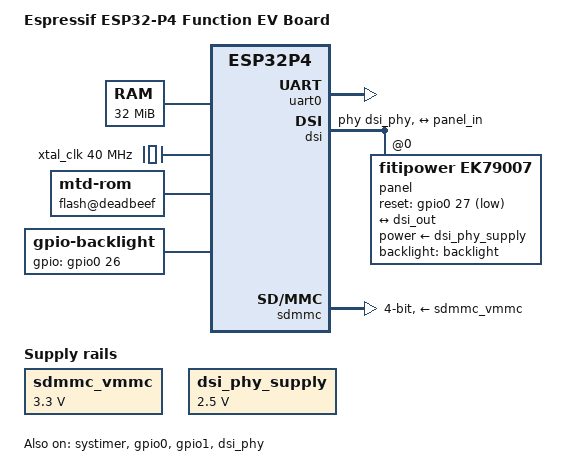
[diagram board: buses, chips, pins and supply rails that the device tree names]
// SPDX-License-Identifier: GPL-2.0
/*
 * Espressif ESP32-P4-Function-EV-Board — ESP32-P4 HP core
 *
 * HP core: dual RV32IMAFC at 400 MHz
 * RAM:     32 MB HEX PSRAM at 0x48000000 (200 MHz DDR)
 * UART0:   0x500CA000, pre-configured at 115200 by boot shim
 * SYSTIMER: 16 MHz free-running counter (timebase)
 */
/dts-v1/;

#include <dt-bindings/interrupt-controller/irq.h>
#include <dt-bindings/gpio/gpio.h>
#include <dt-bindings/input/input.h>

/ {
	#address-cells = <1>;
	#size-cells = <1>;
	model = "Espressif ESP32-P4 Function EV Board";
	compatible = "espressif,esp32p4-function-ev", "espressif,esp32p4";

	cpus {
		#address-cells = <1>;
		#size-cells = <0>;
		timebase-frequency = <16000000>;

		CPU0: cpu@0 {
			device_type = "cpu";
			compatible = "riscv";
			reg = <0>;
			riscv,isa = "rv32imafc";
			mmu-type = "riscv,none";
			status = "okay";

			CPU0_intc: interrupt-controller {
				#interrupt-cells = <1>;
				compatible = "riscv,cpu-intc";
				interrupt-controller;
			};
		};
	};

	memory@48000000 {
		device_type = "memory";
		reg = <0x48000000 0x02000000>; /* 32 MB PSRAM */
	};

	/*
	 * XTAL fixed-rate clock at 40 MHz.  Used as the UART SCLK source
	 * (the driver selects XTAL_CLK via CLK_CONF_DEFAULT).
	 */
	xtal_clk: xtal-clk {
		compatible = "fixed-clock";
		#clock-cells = <0>;
		clock-frequency = <40000000>;
		clock-output-names = "xtal";
	};

	aliases {
		serial0 = &uart0;
	};

	chosen {
		stdout-path = "serial0:115200n8";
		bootargs = "keep_bootcon console=ttyS0,115200 loglevel=8";
	};

	soc: soc {
		#address-cells = <1>;
		#size-cells = <1>;
		compatible = "simple-bus";
		ranges;

		/*
		 * CLIC: Core-Local Interrupt Controller for the HP core.
		 * 240 slots × 4 bytes.  Slots 16-239 are for peripheral
		 * sources routed via the interrupt matrix.
		 *
		 * reg[0]: CLIC control registers
		 * reg[1]: INTMTX HP core-0 base — used by the CLIC driver to
		 *         route peripheral sources to slots on domain map.
		 *
		 * #interrupt-cells = 3: <clic_slot intmtx_source trigger>
		 *   intmtx_source 0 means no routing (local interrupts).
		 *   trigger is IRQ_TYPE_LEVEL_HIGH or IRQ_TYPE_EDGE_RISING.
		 *
		 * clic0 has no interrupts-extended link to CPU0_intc: the
		 * CLIC<->hart wiring is set up in-driver (IRQCHIP_DECLARE +
		 * the riscv_intc handler reads the active slot from mcause),
		 * not via a DT interrupt-parent chain, so the CPU0_intc node
		 * above has no DT consumers here by design.
		 */
		clic0: interrupt-controller@20801000 {
			compatible = "espressif,esp32p4-clic";
			reg = <0x20801000 0x3c0>,
			      <0x500d6000 0x200>;
			interrupt-controller;
			#interrupt-cells = <3>;
		};

		/*
		 * SYSTIMER: 52-bit counter at 16 MHz (XTAL).
		 * Alarm 0 → INTMTX source 53 → CLIC slot 17.
		 * Edge-triggered: handle_percpu_devid_irq does not ack the CLIC,
		 * so we rely on the edge latch auto-clearing on ack.
		 */
		systimer: timer@500e2000 {
			compatible = "espressif,esp32p4-systimer";
			reg = <0x500e2000 0x100>;
			interrupts-extended = <&clic0 17 53 IRQ_TYPE_EDGE_RISING>;
			status = "okay";
		};

		/*
		 * UART0: pre-configured at 115200 8N1 by the boot shim.
		 * INTMTX source 31 (ETS_UART0_INTR_SOURCE) → CLIC slot 18.
		 * Level-triggered so bytes arriving while the FIFO is still
		 * non-empty re-fire the interrupt.
		 * Clock: 40 MHz XTAL (driver selects XTAL_CLK in CLK_CONF).
		 */
		uart0: serial@500ca000 {
			compatible = "esp,esp32p4-uart";
			reg = <0x500ca000 0x1000>;
			interrupts-extended = <&clic0 18 31 IRQ_TYPE_LEVEL_HIGH>;
			clocks = <&xtal_clk>;
			status = "okay";
		};
	};
};
/ {
	/*
	 * Reserved-memory regions carved from the 32 MB PSRAM window
	 * (base 0x48000000, size 0x02000000 -> top 0x4A000000), below
	 * whatever the kernel itself claims.
	 *
	 * The only child today is the NOMMU user-space mmap pool
	 * (app_pool, below). The DRM framebuffer is NOT carved out here --
	 * the display path scans out of the kernel's own pages, and the
	 * old shared-dma-pool "display_cma" region that used to live here
	 * was removed (CONFIG_CMA depends on MMU; see app_pool's comment).
	 */
	reserved-memory {
		#address-cells = <1>;
		#size-cells = <1>;
		ranges;

		/*
		 * Reserved pool for large NOMMU user-space mmap
		 * allocations. See
		 * Documentation/devicetree/bindings/reserved-memory/
		 * linux,nommu-userspace-pool.yaml.
		 *
		 * 10 MB at the top of PSRAM, replacing the no-op
		 * shared-dma-pool ("display_cma") carveout that used to
		 * occupy this region — CONFIG_CMA depends on MMU and was
		 * unreachable on this SoC, so display_cma was never
		 * actually backing dma_alloc_coherent.
		 *
		 * Sized to fit the largest single user mmap we want to
		 * support: fbdoom -mb 6 (6 MB Z_zone) plus the ~2.2 MB
		 * resident set of init/getty/sh that already lives in the
		 * pool by the time fbdoom forks.  Allocations that exceed
		 * the pool fall through to the buddy allocator, which
		 * caps at MAX_PAGE_ORDER=10 = 4 MB.
		 *
		 * Made possible by moving the rootfs out of
		 * the kernel image into a squashfs partition mounted via
		 * mtd-rom — without that, a 10 MB carveout starves the
		 * early-init buddy heap during initramfs unpack.
		 */
		app_pool: app-pool@49600000 {
			compatible = "linux,nommu-userspace-pool";
			reg = <0x49600000 0x00a00000>;
		};
	};

	/*
	 * MIPI DSI PHY analog supply.
	 *
	 * On P4 this is LDO channel 3 at 2500 mV, acquired in the probe via
	 * esp_ldo_acquire_channel(). There is no upstream P4 LDO/PMIC driver
	 * yet, so for now we model it as a fixed-regulator that is "always on"
	 * once Linux is up — the boot shim can pre-enable LDO3 before jumping
	 * into the kernel, matching how we handle UART clocking.
	 *
	 * @TODO replace with a real esp32p4-ldo driver binding once written.
	 */
	dsi_phy_supply: regulator-dsi-phy {
		compatible = "regulator-fixed";
		regulator-name = "mipi-dsi-phy-2v5";
		regulator-min-microvolt = <2500000>;
		regulator-max-microvolt = <2500000>;
		regulator-always-on;
		regulator-boot-on;
	};

	/*
	 * Fixed clock standing in for the DSI host APB ("pclk"). The DW
	 * bridge calls devm_clk_get(dev, "pclk") unconditionally. We don't
	 * have a P4 clock-controller driver yet; the APB is left running
	 * by the boot shim. Model it as an always-present fixed clock so
	 * probe succeeds. Frequency doesn't matter — the DW driver only
	 * prepares/enables it, doesn't use the rate.
	 */
	dsi_pclk: dsi-pclk {
		compatible = "fixed-clock";
		#clock-cells = <0>;
		clock-frequency = <100000000>;
		clock-output-names = "dsi-pclk";
	};

	/*
	 * Backlight.
	 *
	 * The badge drove this from the C6's LEDC over SPI; on this board the
	 * BL net is a plain P4 GPIO (BSP_LCD_BACKLIGHT = GPIO 26), so it is a
	 * simple on/off gpio-backlight. No PWM controller is involved and
	 * nothing has to defer waiting for a coprocessor.
	 *
	 * default-on matters: the panel is dark until something enables this,
	 * and a dark panel is indistinguishable from a DSI that never came up.
	 */
	backlight: backlight {
		compatible = "gpio-backlight";
		gpios = <&gpio0 26 GPIO_ACTIVE_HIGH>;
		default-on;
	};
};

&soc {
	/*
	 * GPIO / IO MUX controller.
	 *
	 * Panel reset is GPIO 17 (active high, per FINDINGS.md). We need a
	 * gpio-controller node to reference it. P4 IO MUX + GPIO registers
	 * live in one block; no upstream driver exists.
	 *
	 * @TODO write drivers/gpio/gpio-esp32p4.c (or port from ESP-IDF HAL).
	 * @TODO confirm register base; 0x500E0000 is the documented GPIO base
	 *       per TRM v0.4 — verify against the datasheet before trusting.
	 */
	gpio0: gpio@500e0000 {
		compatible = "espressif,esp32p4-gpio";
		reg = <0x500e0000 0x1000>;
		espressif,bank-id = <0>;
		gpio-controller;
		#gpio-cells = <2>;
		interrupt-controller;
		#interrupt-cells = <2>;
		interrupts-extended = <&clic0 21 74 IRQ_TYPE_LEVEL_HIGH>;
		status = "okay";
	};

	gpio1: gpio-bank1@500e0000 {
		compatible = "espressif,esp32p4-gpio";
		reg = <0x500e0000 0x1000>;
		espressif,bank-id = <1>;
		gpio-controller;
		#gpio-cells = <2>;
		status = "okay";
	};

	/*
	 * MIPI DSI host + Espressif bridge glue.
	 *
	 * Layout (from FINDINGS.md + main.c):
	 *   0x500A0000 + 0x0800 — DW-MIPI-DSI host (Synopsys IP)
	 *   0x500A0800 + 0x0100 — Espressif bridge (DPI_OUTPUT_EN, DMA glue,
	 *                        pixel-format mux, video-timing shadow regs)
	 *
	 * The top-level `compatible` targets the Espressif glue driver
	 * (drivers/gpu/drm/espressif/dw-mipi-dsi-esp32p4.c — to be written).
	 * That driver instantiates the Synopsys bridge via dw_mipi_dsi_probe()
	 * and owns the P4-specific knobs (MODE_CFG force-to-video after DCS
	 * reads — Finding #1 — plus element-order config — Finding #3).
	 *
	 * #address-cells / #size-cells / port shape follows the common
	 * dsi-controller pattern used by Rockchip/STM32/StarFive.
	 *
	 * @TODO INTMTX source number for DSI host interrupt — not yet read out
	 *       of the TRM. Placeholder 0xff must be fixed before probe.
	 * @TODO clock bindings: DSI host, DPI pclk, PHY refclk all need real
	 *       clock-cells from a P4 clock controller driver (doesn't exist
	 *       yet; boot shim pre-configures).
	 */
	dsi: dsi@500a0000 {
		compatible = "espressif,esp32p4-mipi-dsi";
		reg = <0x500a0000 0x0800>,   /* DW-MIPI-DSI host */
		      <0x500a0800 0x0100>;   /* Espressif bridge glue */
		reg-names = "host", "bridge";

		/* @TODO real INTMTX source; 0xff is a placeholder. */
		interrupts-extended = <&clic0 19 0xff IRQ_TYPE_LEVEL_HIGH>;

		/* @TODO wire real clock-names once we have a P4 clock driver:
		 *   "pclk"  — DSI host APB (fixed-clock stub for now)
		 *   "phy"   — DSI PHY reference (derived from XTAL)
		 *   "pix"   — DPI pixel clock (47 MHz for BONO panel)
		 * For now the boot shim leaves all three running. */
		clocks = <&dsi_pclk>;
		clock-names = "pclk";

		/*
		 * phy-supply intentionally omitted — adding it here broke the
		 * panel probe chain (Fixed dep cycle got worse; panel driver
		 * never reached mipi_dsi_attach). The glue driver handles the
		 * missing phy supply by falling back to a dummy regulator. LDO3
		 * is always-on via our direct PMU poke (esp32p4_dsi_ldo3_enable).
		 */

		phys = <&dsi_phy>;
		phy-names = "dsi";

		/* EK79007: 2 lanes at 1 Gbps each. */
		data-lanes = <1 2>;

		#address-cells = <1>;
		#size-cells = <0>;
		status = "okay";

		ports {
			#address-cells = <1>;
			#size-cells = <0>;

			/* Port 0: DPI input from the display controller. No
			 * separate DC IP on P4 — the Espressif bridge sources
			 * pixels directly from CMA via DW-GDMA. This port
			 * remains a stub for the DRM bridge chain. */
			port@0 {
				reg = <0>;
			};

			/* Port 1: DSI output to panel. */
			port@1 {
				reg = <1>;
				dsi_out: endpoint {
					remote-endpoint = <&panel_in>;
				};
			};
		};

		/*
		 * EK79007, 1024x600, two lanes. Timings and the register
		 * sequence come from Espressif's esp_lcd_ek79007 and the
		 * EK79007_1024_600_PANEL_60HZ_CONFIG macro; the driver is
		 * drivers/gpu/drm/panel/panel-ek79007.c.
		 *
		 * Unlike the badge's BONO panel this one is not transposed, so
		 * there is no rotation property and no blit-time rotation.
		 *
		 * The backlight reference is safe to carry here: gpio-backlight
		 * binds against a real P4 GPIO on this board, so the panel does
		 * not defer forever the way it would have on the badge.
		 */
		panel@0 {
			compatible = "fitipower,ek79007";
			reg = <0>; /* virtual channel 0 */

			/* BSP_LCD_RST for the 1024x600 sub-board. */
			reset-gpios = <&gpio0 27 GPIO_ACTIVE_LOW>;

			power-supply = <&dsi_phy_supply>;
			backlight = <&backlight>;

			port {
				panel_in: endpoint {
					remote-endpoint = <&dsi_out>;
				};
			};
		};
	};

	/*
	 * DSI D-PHY. On P4 this is a separate IP block colocated with the
	 * DSI host. Address not in the probe, need to dig out of the TRM.
	 *
	 * @TODO confirm PHY reg range. Some SoCs expose the DW PHY behind the
	 *       host register window; others give it its own page. If the
	 *       former, this node disappears and the glue driver manages the
	 *       PHY via offsets within `host`.
	 */
	dsi_phy: phy@500a0900 {
		compatible = "espressif,esp32p4-mipi-dphy";
		reg = <0x500a0900 0x0100>; /* @TODO verify */
		#phy-cells = <0>;
		power-supply = <&dsi_phy_supply>;
		status = "okay";
	};

	/*
	 * ESP32-P4 SDMMC controller, slot 0 = the badge's microSD card.
	 *
	 * The IP is byte-for-byte DesignWare DW MMC ("dw-mshc"); register
	 * map matches mainline drivers/mmc/host/dw_mmc.h offsets exactly.
	 * Mainline `synopsys,dw-mshc-pltfm` drives it without a glue file.
	 *
	 * Slot 0 uses dedicated IOMUX pins (no GPIO matrix), function 0:
	 *   GPIO39 = D0   GPIO40 = D1   GPIO41 = D2   GPIO42 = D3
	 *   GPIO43 = CLK  GPIO44 = CMD
	 * Pin map taken from esp-idf's sdmmc_pins.h SDMMC_SLOT0_IOMUX_*.
	 *
	 * No pinctrl, no clock controller: biu/ciu are fixed-clock stubs
	 * matching the rates the boot shim programs into HP_SYS_CLKRST.
	 * Source clock = PLL_F160M with host divider 4 → 40 MHz LS clock.
	 * mainline dw_mmc picks card_div=1 → 20 MHz card clock, under the
	 * default-speed cap of 25 MHz (see max-frequency below).
	 *
	 * Hot-insert: `broken-cd` makes the mmc core poll for cards every
	 * ~1 s. The badge's CD line wiring isn't yet known; replace with
	 * `cd-gpios = <&gpio0 N GPIO_ACTIVE_LOW>` once identified.
	 *
	 * @TODO replace fixed-clock stubs with a real esp32p4-clkrst
	 *       provider, then HS-mode (50 MHz) becomes possible.
	 * @TODO write esp32p4-pinctrl so DT can claim the IOMUX routing
	 *       instead of the boot shim doing it.
	 */
	sdmmc_biu_clk: sdmmc-biu-clk {
		compatible = "fixed-clock";
		#clock-cells = <0>;
		clock-frequency = <40000000>;
		clock-output-names = "sdmmc-biu";
	};

	sdmmc_ciu_clk: sdmmc-ciu-clk {
		compatible = "fixed-clock";
		#clock-cells = <0>;
		clock-frequency = <40000000>;
		clock-output-names = "sdmmc-ciu";
	};

	sdmmc: mmc@50083000 {
		compatible = "snps,dw-mshc";
		reg = <0x50083000 0x1000>;
		dma-noncoherent;

		/* INTMTX source 23 (ETS_SDIO_HOST_INTR_SOURCE), CLIC slot 22.
		 * DW MMC uses level-high interrupts (RINTSTS read-to-ack but
		 * line stays asserted until status bits are cleared). */
		interrupts-extended = <&clic0 22 23 IRQ_TYPE_LEVEL_HIGH>;

		clocks = <&sdmmc_biu_clk>, <&sdmmc_ciu_clk>;
		clock-names = "biu", "ciu";

		/* fifo-depth omitted: dw_mmc reads FIFOTH at probe and uses
		 * the hardware-reported depth. Hardcoding wrong is worse
		 * than letting the driver auto-detect. */

		vmmc-supply = <&sdmmc_vmmc>;

		bus-width = <4>;
		broken-cd;
		disable-wp;
		max-frequency = <25000000>;

		#address-cells = <1>;
		#size-cells = <0>;

		status = "okay";
	};

	/*
	 * On-chip LDO channel 4 powers the microSD slot. Boot shim sets
	 * 3.3V via PMU.ext_ldo[4] (PMU_EXT_LDO_P1_0P2A_REG @ +0x1d8).
	 * Modeled as a fixed regulator until a real esp32p4-ldo driver
	 * lands.
	 */
	sdmmc_vmmc: regulator-sdmmc-vmmc {
		compatible = "regulator-fixed";
		regulator-name = "sdmmc-vmmc";
		regulator-min-microvolt = <3300000>;
		regulator-max-microvolt = <3300000>;
		regulator-always-on;
		regulator-boot-on;
	};
	/*
	 * Memory-mapped read-only SPI flash window covering the rootfs
	 * partition.  The ESP32-P4 cache subsystem maps a flash range to
	 * a virtual address; the boot shim calls esp_partition_mmap() on
	 * the rootfs partition, leaves the mapping live across the jump
	 * to Linux, and patches `reg` below at runtime with the actual
	 * VA the IDF allocator returned and the partition size.  The
	 * placeholder values 0xdeadbeef / 0xcafefade are searched for as
	 * a literal byte sequence in the DTB blob.
	 *
	 * Linux's existing physmap-core driver handles the "mtd-rom"
	 * compatible — no new driver needed.
	 */
	flash@deadbeef {
		compatible = "mtd-rom";
		reg = <0xdeadbeef 0xcafefade>;
		bank-width = <4>;
	};
};
